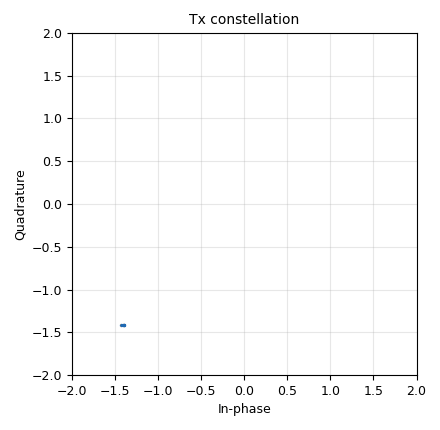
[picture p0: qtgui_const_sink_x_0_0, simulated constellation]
options:
  parameters:
    author: yabool2001
    copyright: mzemlo.pl@gmail.com
    description: QPSK demonstration test w. adalm-pluto
    generate_options: qt_gui
    id: QPSK_test_04_1
    output_language: python
    title: QPSK test 04_1 adalm-pluto
  states: {}

blocks:
- name: const_obj
  id: variable_constellation
  parameters:
    npwr: '0'
    precision: '8'
    type: qpsk
  states: {}
- name: f_o
  id: variable
  parameters:
    value: '820000000'
  states: {}
- name: nfilts
  id: variable
  parameters:
    value: '32'
  states: {}
- name: samp_rate
  id: variable
  parameters:
    value: '65105'
  states: {}
- name: sps
  id: variable
  parameters:
    value: '4'
  states: {}
- name: blocks_message_strobe_1
  id: blocks_message_strobe
  parameters:
    msg: pmt.cons ( pmt.PMT_NIL , pmt.make_u8vector ( 1 , 0x01 ) )
    period: '1000'
  states: {}
- name: blocks_repack_bits_bb_0
  id: blocks_repack_bits_bb
  parameters:
    endianness: gr.GR_LSB_FIRST
    k: '8'
    l: '2'
    len_tag_key: packet_len
  states: {}
- name: blocks_repack_bits_bb_1
  id: blocks_repack_bits_bb
  parameters:
    endianness: gr.GR_LSB_FIRST
    k: '2'
    l: '8'
    len_tag_key: ''
  states: {}
- name: digital_constellation_decoder_cb_1_0
  id: digital_constellation_decoder_cb
  parameters:
    constellation: const_obj
  states: {}
- name: digital_constellation_modulator_0
  id: digital_constellation_modulator
  parameters:
    constellation: const_obj
    differential: 'False'
    excess_bw: '0.35'
    log: 'True'
    samples_per_symbol: sps
    verbose: 'True'
  states: {}
- name: epy_block_0_0
  id: epy_block
  parameters:
    _source_code: |
      from gnuradio import gr
      import numpy as np
      import time
      import os

      class complex_sps_file_sink(gr.sync_block):
          def __init__(self, samp_rate=32000, sps=2, filename="complex_log.csv"):
              gr.sync_block.__init__(self,
                  name="Complex Sps File Sink",
                  in_sig=[np.complex64],
                  out_sig=None)
              self.filename = filename
              self.samp_rate = samp_rate
              self.sps = sps
              self.start_time = time.time()
              self.sample_index = 0  # licznik próbek

              file_exists = os.path.isfile(filename)
              self.f = open(filename, "w", encoding="utf-8")

              if not file_exists or os.stat(filename).st_size == 0:
                  self.f.write("timestamp;real;imag;symbol_index;samp_rate\n")

          def work(self, input_items, output_items):
              elapsed = time.time() - self.start_time
              for c in input_items[0]:
                  timestamp = elapsed
                  ts = f"{timestamp:.6f}".replace('.', ',')
                  re = f"{c.real:.6f}".replace('.', ',')
                  im = f"{c.imag:.6f}".replace('.', ',')
                  symbol_idx = str(self.sample_index // self.sps)
                  sr = f"{self.samp_rate:.0f}".replace('.', ',')

                  self.f.write(f"{ts};{re};{im};{symbol_idx};{sr}\n")

                  elapsed += 1 / self.samp_rate
                  self.sample_index += 1

              self.f.flush()
              return len(input_items[0])
    filename: '"complex_tx_qpsk_mod_log.csv"'
    samp_rate: samp_rate
    sps: sps
  states: {}
- name: epy_block_1_0
  id: epy_block
  parameters:
    _source_code: |
      from gnuradio import gr
      import numpy as np
      import time
      import os

      class byte_logger(gr.sync_block):
          def __init__(self, samp_rate=32000, filename="byte_log.csv"):
              gr.sync_block.__init__(self,
                  name="BYTE FILE SINK",
                  in_sig=[np.uint8],
                  out_sig=None)
              self.filename = filename
              self.samp_rate = samp_rate
              self.start_time = time.time()

              file_exists = os.path.isfile(filename)
              self.f = open(filename, "w", encoding="utf-8")

              if not file_exists or os.stat(filename).st_size == 0:
                  self.f.write("timestamp;byte;samp_rate\n")

          def work(self, input_items, output_items):
              current_time = time.time()
              elapsed = current_time - self.start_time

              for i, b in enumerate(input_items[0]):
                  timestamp = elapsed + (i / self.samp_rate)
                  ts = f"{timestamp:.6f}".replace('.', ',')
                  val = str(b)
                  sr = f"{self.samp_rate:.0f}".replace('.', ',')
                  self.f.write(f"{ts};{val};{sr}\n")

              self.f.flush()
              return len(input_items[0])
    filename: '"byte_rx_qpsk_mod_log.csv"'
    samp_rate: samp_rate
  states: {}
- name: epy_block_1_0_0
  id: epy_block
  parameters:
    _source_code: |
      from gnuradio import gr
      import numpy as np
      import time
      import os

      class byte_logger(gr.sync_block):
          def __init__(self, samp_rate=32000, filename="byte_log.csv"):
              gr.sync_block.__init__(self,
                  name="BYTE FILE SINK",
                  in_sig=[np.uint8],
                  out_sig=None)
              self.filename = filename
              self.samp_rate = samp_rate
              self.start_time = time.time()

              file_exists = os.path.isfile(filename)
              self.f = open(filename, "w", encoding="utf-8")

              if not file_exists or os.stat(filename).st_size == 0:
                  self.f.write("timestamp;byte;samp_rate\n")

          def work(self, input_items, output_items):
              current_time = time.time()
              elapsed = current_time - self.start_time

              for i, b in enumerate(input_items[0]):
                  timestamp = elapsed + (i / self.samp_rate)
                  ts = f"{timestamp:.6f}".replace('.', ',')
                  val = str(b)
                  sr = f"{self.samp_rate:.0f}".replace('.', ',')
                  self.f.write(f"{ts};{val};{sr}\n")

              self.f.flush()
              return len(input_items[0])
    filename: '"byte_tx_qpsk_mod_log.csv"'
    samp_rate: samp_rate
  states: {}
- name: pdu_pdu_to_tagged_stream_0
  id: pdu_pdu_to_tagged_stream
  parameters:
    tag: packet_len
    type: byte
  states: {}
- name: qtgui_const_sink_x_0_0
  id: qtgui_const_sink_x
  parameters:
    name: '"Tx constellation"'
    size: sps
    type: complex
  states: {}
- name: qtgui_time_sink_x_0_0
  id: qtgui_time_sink_x
  parameters:
    name: '"Tx Time"'
    size: 4*sps
    srate: samp_rate
    type: complex
    ymax: '2'
    ymin: '-2'
  states: {state: disabled}

connections:
- [blocks_message_strobe_1, strobe, pdu_pdu_to_tagged_stream_0, pdus]
- [blocks_repack_bits_bb_0, '0', digital_constellation_modulator_0, '0']
- [blocks_repack_bits_bb_1, '0', epy_block_1_0, '0']
- [digital_constellation_decoder_cb_1_0, '0', blocks_repack_bits_bb_1, '0']
- [digital_constellation_modulator_0, '0', digital_constellation_decoder_cb_1_0, '0']
- [digital_constellation_modulator_0, '0', epy_block_0_0, '0']
- [digital_constellation_modulator_0, '0', qtgui_const_sink_x_0_0, '0']
- [digital_constellation_modulator_0, '0', qtgui_time_sink_x_0_0, '0']
- [pdu_pdu_to_tagged_stream_0, '0', blocks_repack_bits_bb_0, '0']
- [pdu_pdu_to_tagged_stream_0, '0', epy_block_1_0_0, '0']

metadata:
  file_format: 1
  grc_version: 3.10.12.0
